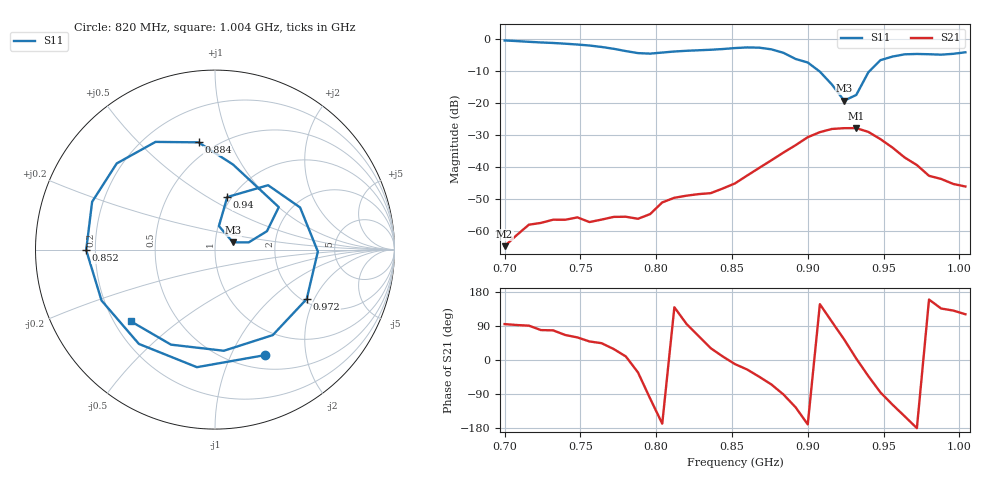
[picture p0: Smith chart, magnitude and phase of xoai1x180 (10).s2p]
# Hz S RI R 50
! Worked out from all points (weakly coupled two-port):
!   39 points, 700 MHz to 1.004 GHz, reference 50 ohm
!   highest |S21| = -27.90 dB at 932 MHz (marker M1); lowest = -64.8 dB at 700 MHz (marker M2)
!   lowest |S11| = -19.3 dB at 924 MHz (marker M3), VSWR 1.24, Z = 60.9 + j4.97 ohm
!   |S11| at or under -10 dB: 907.3 MHz to 940.9 MHz (33.64 MHz wide, 3.64 % of centre)
!   S12 and S22 are empty: the file has one direction only
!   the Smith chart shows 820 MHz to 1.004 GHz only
!   S11 on the Smith chart (normalised r, x): 820 MHz: 0.67, -1.36; 852 MHz: 0.16, -0.00; 884 MHz: 0.41, +0.77; 940 MHz: 0.95, +0.61; 972 MHz: 2.11, -1.75; 1.004 GHz: 0.27, -0.34
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7e8  0.7636 0.5543  -4.75e-05 0.000574  0 0  0 0
7.24e8  0.8426 -0.2476  0.000255 0.00131  0 0  0 0
7.4e8  0.461 -0.7019  0.000607 0.00136  0 0  0 0
7.56e8  -0.1936 -0.7624  0.000901 0.00103  0 0  0 0
7.72e8  -0.6686 -0.2028  0.00145 0.000798  0 0  0 0
7.8e8  -0.602 0.228  0.00164 0.000267  0 0  0 0
7.96e8  0.2445 0.5342  -0.000367 -0.00179  0 0  0 0
8.04e8  0.5837 0.1796  -0.00272 -0.000577  0 0  0 0
8.2e8  0.2794 -0.5877  -0.000321 0.00353  0 0  0 0
8.36e8  -0.4241 -0.5255  0.00332 0.00201  0 0  0 0
8.52e8  -0.7177 -0.00244  0.00542 -0.00104  0 0  0 0
8.68e8  -0.5475 0.4801  0.0069 -0.00672  0 0  0 0
8.84e8  -0.0919 0.5975  -0.000326 -0.0167  0 0  0 0
9e8  0.3554 0.2367  -0.0286 -0.0051  0 0  0 0
9.08e8  0.2895 0.1026  -0.0293 0.0188  0 0  0 0
9.24e8  0.1003 0.0403  0.0235 0.0326  0 0  0 0
9.32e8  0.0219 0.131  0.0402 0.00263  0 0  0 0
9.4e8  0.0681 0.2928  0.0258 -0.0238  0 0  0 0
9.56e8  0.4742 0.2348  -0.00942 -0.0175  0 0  0 0
9.72e8  0.5109 -0.2751  -0.0107 -1.89e-05  0 0  0 0
9.88e8  0.0493 -0.5636  -0.00464 0.00451  0 0  0 0
1.004e9  -0.4694 -0.3993  -0.00252 0.00424  0 0  0 0
